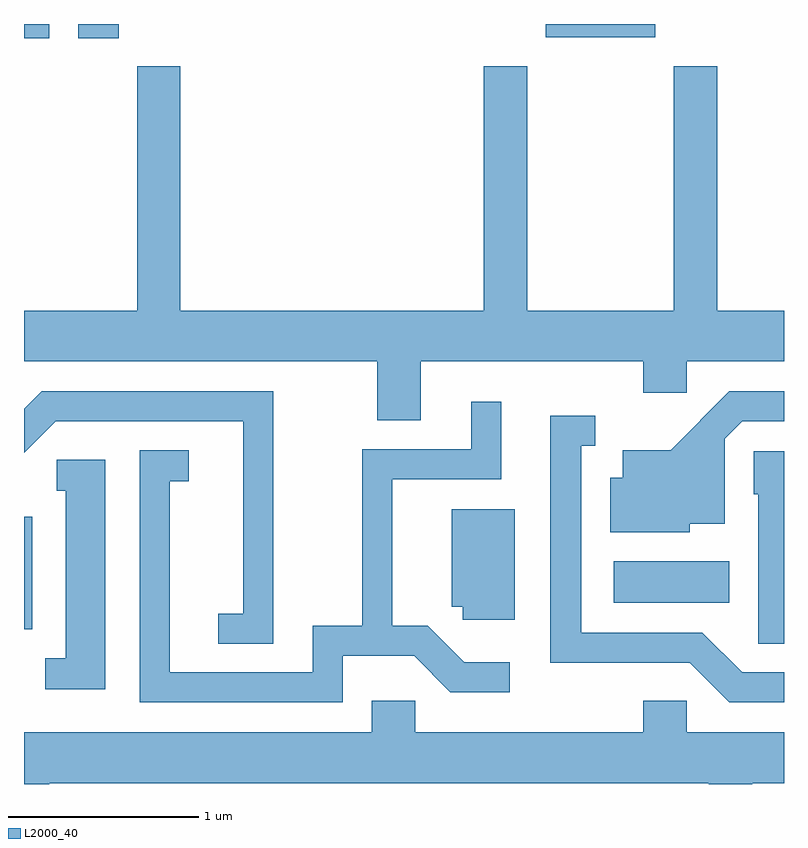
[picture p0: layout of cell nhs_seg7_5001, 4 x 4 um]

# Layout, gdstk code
import gdstk
lib = gdstk.Library(unit=1e-6, precision=1e-09)
def R(c, l, rs):  # rectangles x0, y0, x1, y1
    for r in rs: c.add(gdstk.rectangle(r[:2], r[2:], *l))
def P(c, l, *ps):  # polygons
    for p in ps: c.add(gdstk.Polygon(p, *l))
L2000_40 = (2000, 40)

nhs_seg7_5001 = lib.new_cell('nhs_seg7_5001')
R(nhs_seg7_5001, L2000_40, [(337.611,1775.066,337.654,1775.659), (340.716,1775.206,341.324,1775.424), (337.611,1778.176,337.744,1778.252), (337.896,1778.176,338.109,1778.252), (340.356,1778.181,340.934,1778.252)])
P(nhs_seg7_5001, L2000_40, [(339.699,1776.476),(340.871,1776.476),(340.871,1776.311),(341.099,1776.311),(341.099,1776.476),(341.611,1776.476),(341.611,1776.744),(341.259,1776.744),(341.259,1778.029),(341.031,1778.029),(341.031,1776.744),(340.259,1776.744),(340.259,1778.029),(340.031,1778.029),(340.031,1776.744),(338.434,1776.744),(338.434,1778.029),(338.206,1778.029),(338.206,1776.744),(337.611,1776.744),(337.611,1776.476),(339.471,1776.476),(339.471,1776.166),(339.699,1776.166)],
  [(341.114,1775.621),(341.299,1775.621),(341.299,1776.069),(341.392,1776.161),(341.611,1776.161),(341.611,1776.319),(341.324,1776.319),(341.014,1776.009),(340.761,1776.009),(340.761,1775.864),(340.696,1775.864),(340.696,1775.576),(341.114,1775.576)],
  [(338.924,1776.319),(337.704,1776.319),(337.611,1776.226),(337.611,1775.995),(337.777,1776.161),(338.766,1776.161),(338.766,1775.149),(338.633,1775.149),(338.633,1774.991),(338.924,1774.991)],
  [(339.289,1774.926),(339.664,1774.926),(339.854,1774.736),(340.168,1774.736),(340.168,1774.894),(339.927,1774.894),(339.737,1775.084),(339.549,1775.084),(339.549,1775.856),(340.124,1775.856),(340.124,1776.263),(339.966,1776.263),(339.966,1776.014),(339.391,1776.014),(339.391,1775.084),(339.131,1775.084),(339.131,1774.839),(338.379,1774.839),(338.379,1775.846),(338.478,1775.846),(338.478,1776.009),(338.221,1776.009),(338.221,1774.681),(339.289,1774.681)],
  [(341.611,1774.839),(341.392,1774.839),(341.182,1775.049),(340.544,1775.049),(340.544,1776.031),(340.618,1776.031),(340.618,1776.189),(340.381,1776.189),(340.381,1774.891),(341.114,1774.891),(341.324,1774.681),(341.611,1774.681)],
  [(341.611,1776.004),(341.451,1776.004),(341.451,1775.776),(341.476,1775.776),(341.476,1774.991),(341.611,1774.991)],
  [(338.039,1775.959),(337.783,1775.959),(337.783,1775.796),(337.831,1775.796),(337.831,1774.914),(337.723,1774.914),(337.723,1774.751),(338.039,1774.751)],
  [(340.194,1775.699),(339.861,1775.699),(339.861,1775.186),(339.921,1775.186),(339.921,1775.116),(340.194,1775.116)],
  [(337.744,1774.256),(341.216,1774.256),(341.216,1774.252),(341.444,1774.252),(341.444,1774.256),(341.611,1774.256),(341.611,1774.524),(341.099,1774.524),(341.099,1774.689),(340.871,1774.689),(340.871,1774.524),(339.669,1774.524),(339.669,1774.689),(339.441,1774.689),(339.441,1774.524),(337.611,1774.524),(337.611,1774.252),(337.744,1774.252)])

lib.write_gds('nhs_seg7_5001.gds')
